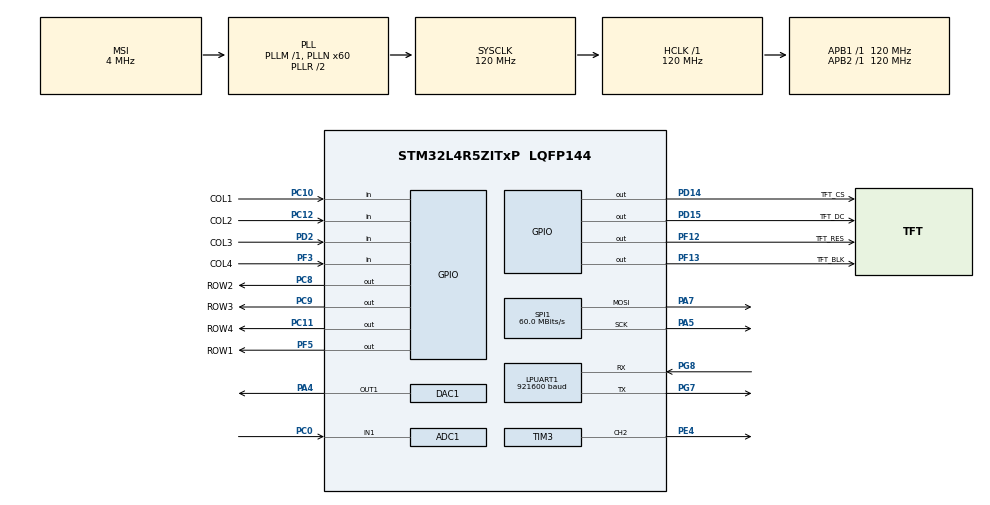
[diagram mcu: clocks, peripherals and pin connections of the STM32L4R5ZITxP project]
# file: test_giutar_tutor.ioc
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ADC1.Channel-0\#ChannelRegularConversion=ADC_CHANNEL_1
ADC1.DMAContinuousRequests=ENABLE
ADC1.ExternalTrigConv=ADC_EXTERNALTRIG_T1_TRGO
ADC1.NbrOfConversionFlag=1
ADC1.OffsetNumber-0\#ChannelRegularConversion=ADC_OFFSET_NONE
ADC1.Rank-0\#ChannelRegularConversion=1
ADC1.SamplingTime-0\#ChannelRegularConversion=ADC_SAMPLETIME_2CYCLES_5
ADC1.master=1
DAC1.DAC_OutputBuffer-DAC_OUT1=DAC_OUTPUTBUFFER_ENABLE
DAC1.DAC_Trigger-DAC_OUT1=DAC_TRIGGER_T6_TRGO
Dma.ADC1.1.Direction=DMA_PERIPH_TO_MEMORY
Dma.ADC1.1.EventEnable=DISABLE
Dma.ADC1.1.Instance=DMA1_Channel3
Dma.ADC1.1.MemDataAlignment=DMA_MDATAALIGN_HALFWORD
Dma.ADC1.1.MemInc=DMA_MINC_ENABLE
Dma.ADC1.1.Mode=DMA_CIRCULAR
Dma.ADC1.1.PeriphDataAlignment=DMA_PDATAALIGN_HALFWORD
Dma.ADC1.1.PeriphInc=DMA_PINC_DISABLE
Dma.ADC1.1.Polarity=HAL_DMAMUX_REQUEST_GEN_RISING
Dma.ADC1.1.Priority=DMA_PRIORITY_HIGH
Dma.ADC1.1.RequestNumber=1
Dma.ADC1.1.SignalID=NONE
Dma.ADC1.1.SyncEnable=DISABLE
Dma.ADC1.1.SyncPolarity=HAL_DMAMUX_SYNC_NO_EVENT
Dma.ADC1.1.SyncRequestNumber=1
Dma.ADC1.1.SyncSignalID=NONE
Dma.DAC1_CH1.0.Direction=DMA_MEMORY_TO_PERIPH
Dma.DAC1_CH1.0.EventEnable=DISABLE
Dma.DAC1_CH1.0.Instance=DMA1_Channel2
Dma.DAC1_CH1.0.MemDataAlignment=DMA_MDATAALIGN_WORD
Dma.DAC1_CH1.0.MemInc=DMA_MINC_ENABLE
Dma.DAC1_CH1.0.Mode=DMA_NORMAL
Dma.DAC1_CH1.0.PeriphDataAlignment=DMA_PDATAALIGN_WORD
Dma.DAC1_CH1.0.PeriphInc=DMA_PINC_DISABLE
Dma.DAC1_CH1.0.Polarity=HAL_DMAMUX_REQUEST_GEN_RISING
Dma.DAC1_CH1.0.Priority=DMA_PRIORITY_LOW
Dma.DAC1_CH1.0.RequestNumber=1
Dma.DAC1_CH1.0.SignalID=NONE
Dma.DAC1_CH1.0.SyncEnable=DISABLE
Dma.DAC1_CH1.0.SyncPolarity=HAL_DMAMUX_SYNC_NO_EVENT
Dma.DAC1_CH1.0.SyncRequestNumber=1
Dma.DAC1_CH1.0.SyncSignalID=NONE
Dma.Request0=DAC1_CH1
Dma.Request1=ADC1
Dma.Request2=TIM3_CH2
Dma.TIM3_CH2.2.Direction=DMA_MEMORY_TO_PERIPH
Dma.TIM3_CH2.2.EventEnable=DISABLE
Dma.TIM3_CH2.2.Instance=DMA1_Channel1
Dma.TIM3_CH2.2.MemDataAlignment=DMA_MDATAALIGN_WORD
Dma.TIM3_CH2.2.MemInc=DMA_MINC_ENABLE
Dma.TIM3_CH2.2.Mode=DMA_NORMAL
Dma.TIM3_CH2.2.PeriphDataAlignment=DMA_PDATAALIGN_WORD
Dma.TIM3_CH2.2.PeriphInc=DMA_PINC_DISABLE
Dma.TIM3_CH2.2.Polarity=HAL_DMAMUX_REQUEST_GEN_RISING
Dma.TIM3_CH2.2.Priority=DMA_PRIORITY_VERY_HIGH
Dma.TIM3_CH2.2.RequestNumber=1
Dma.TIM3_CH2.2.SignalID=NONE
Dma.TIM3_CH2.2.SyncEnable=DISABLE
Dma.TIM3_CH2.2.SyncPolarity=HAL_DMAMUX_SYNC_NO_EVENT
Dma.TIM3_CH2.2.SyncRequestNumber=1
Dma.TIM3_CH2.2.SyncSignalID=NONE
LPUART1.BaudRate=921600
LPUART1.WordLength=UART_WORDLENGTH_8B
Mcu.Family=STM32L4
Mcu.Name=STM32L4R5ZITxP
Mcu.Package=LQFP144
NVIC.DMA1_Channel1_IRQn=true\:0\:0\:false\:false\:true\:false\:true\:true
NVIC.DMA1_Channel2_IRQn=true\:0\:0\:false\:false\:true\:false\:true\:true
NVIC.DMA1_Channel3_IRQn=true\:0\:0\:false\:false\:true\:false\:true\:true
NVIC.PriorityGroup=NVIC_PRIORITYGROUP_4
NVIC.TIM6_DAC_IRQn=true\:0\:0\:false\:false\:true\:true\:true\:true
PA0.Signal=S_TIM2_CH1
PA1.Signal=ADCx_IN6
PA10.Signal=USB_OTG_FS_ID
PA13\ (JTMS/SWDIO).Signal=SYS_JTMS-SWDIO
PA14\ (JTCK/SWCLK).Signal=SYS_JTCK-SWCLK
PA3.Signal=ADCx_IN8
PA4.Signal=COMP_DAC11_group
PA5.Mode=TX_Only_Simplex_Unidirect_Master
PA5.Signal=SPI1_SCK
PA6.Signal=SPI1_MISO
PA7.Mode=TX_Only_Simplex_Unidirect_Master
PA7.Signal=SPI1_MOSI
PA8.Signal=USB_OTG_FS_SOF
PA9.Signal=USB_OTG_FS_VBUS
PB0.Signal=S_TIM3_CH3
PB1.Signal=ADCx_IN16
PB10.Signal=S_TIM2_CH3
PB12.Signal=SAI2_FS_A
PB13.Signal=SAI2_SCK_A
PB14.Signal=S_TIM15_CH1
PB15.Signal=SAI2_SD_A
PB2.Signal=COMP1_INP
PB3\ (JTDO/TRACESWO).Signal=SPI3_SCK
PB4\ (NJTRST).Signal=SPI3_MISO
PB5.Signal=SPI3_MOSI
PB6.Signal=COMP2_INP
PB8.Signal=I2C1_SCL
PB9.Signal=I2C1_SDA
PC0.Signal=ADCx_IN1
PC1.Signal=ADCx_IN2
PC10.GPIO_Label=COL1
PC10.GPIO_PuPd=GPIO_PULLUP
PC10.Signal=GPIO_Input
PC11.GPIO_Label=ROW4
PC11.PinState=GPIO_PIN_SET
PC11.Signal=GPIO_Output
PC12.GPIO_Label=COL2
PC12.GPIO_PuPd=GPIO_PULLUP
PC12.Signal=GPIO_Input
PC13.Signal=SYS_WKUP2
PC14-OSC32_IN\ (PC14).Signal=RCC_OSC32_IN
PC15-OSC32_OUT\ (PC15).Signal=RCC_OSC32_OUT
PC2.Signal=ADCx_IN3
PC3.Signal=ADCx_IN4
PC4.Signal=ADCx_IN13
PC5.Signal=ADCx_IN14
PC6.Signal=SAI2_MCLK_A
PC8.GPIO_Label=ROW2
PC8.PinState=GPIO_PIN_SET
PC8.Signal=GPIO_Output
PC9.GPIO_Label=ROW3
PC9.PinState=GPIO_PIN_SET
PC9.Signal=GPIO_Output
PD0.Signal=CAN1_RX
PD14.GPIO_Label=TFT_CS
PD14.GPIO_Speed=GPIO_SPEED_FREQ_VERY_HIGH
PD14.PinState=GPIO_PIN_SET
PD14.Signal=GPIO_Output
PD15.GPIO_Label=TFT_DC
PD15.GPIO_Speed=GPIO_SPEED_FREQ_VERY_HIGH
PD15.PinState=GPIO_PIN_SET
PD15.Signal=GPIO_Output
PD2.GPIO_Label=COL3
PD2.GPIO_PuPd=GPIO_PULLUP
PD2.Signal=GPIO_Input
PD3.Signal=USART2_CTS
PD4.Signal=USART2_RTS
PD5.Signal=USART2_TX
PD6.Signal=USART2_RX
PD8.Signal=USART3_TX
PD9.Signal=USART3_RX
PE0.Signal=S_TIM4_ETR
PE10.Signal=TIM1_CH2N
PE11.Signal=S_TIM1_CH2
PE12.Signal=TIM1_CH3N
PE13.Signal=S_TIM1_CH3
PE14.Signal=TIM1_BKIN2
PE15.Signal=TIM1_BKIN
PE2.Signal=SAI1_MCLK_A
PE3.Signal=SAI1_SD_B
PE4.Signal=S_TIM3_CH2
PE7.Signal=S_TIM1_ETR
PE8.Signal=TIM1_CH1N
PE9.Signal=S_TIM1_CH1
PF0.Signal=I2C2_SDA
PF1.Signal=I2C2_SCL
PF12.GPIO_Label=TFT_RES
PF12.GPIO_Speed=GPIO_SPEED_FREQ_VERY_HIGH
PF12.PinState=GPIO_PIN_SET
PF12.Signal=GPIO_Output
PF13.GPIO_Label=TFT_BLK
PF13.GPIO_Speed=GPIO_SPEED_FREQ_VERY_HIGH
PF13.PinState=GPIO_PIN_SET
PF13.Signal=GPIO_Output
PF2.Signal=I2C2_SMBA
PF3.GPIO_Label=COL4
PF3.GPIO_PuPd=GPIO_PULLUP
PF3.Signal=GPIO_Input
PF5.GPIO_Label=ROW1
PF5.PinState=GPIO_PIN_SET
PF5.Signal=GPIO_Output
PF7.Signal=SAI1_MCLK_B
PF9.Signal=GPXTI9
PG7.Mode=Asynchronous
PG7.Signal=LPUART1_TX
PG8.Mode=Asynchronous
PG8.Signal=LPUART1_RX
PH0-OSC_IN\ (PH0).Signal=RCC_OSC_IN
PH1-OSC_OUT\ (PH1).Signal=RCC_OSC_OUT
ProjectManager.HeapSize=0x200
ProjectManager.StackSize=0x400
ProjectManager.TargetToolchain=STM32CubeIDE
RCC.ADCFreq_Value=32000000
RCC.AHBFreq_Value=120000000
RCC.APB1Freq_Value=120000000
RCC.APB1TimFreq_Value=120000000
RCC.APB2Freq_Value=120000000
RCC.APB2TimFreq_Value=120000000
RCC.CortexFreq_Value=120000000
RCC.HCLKFreq_Value=120000000
RCC.HSE_VALUE=8000000
RCC.HSI48_VALUE=48000000
RCC.HSI_VALUE=16000000
RCC.LSE_VALUE=32768
RCC.MSI_VALUE=4000000
RCC.PLLN=60
RCC.PLLSAI1N=16
RCC.SYSCLKFreq_VALUE=120000000
RCC.SYSCLKSource=RCC_SYSCLKSOURCE_PLLCLK
RCC.USBFreq_Value=32000000
RCC.VCOOutputFreq_Value=240000000
SH.ADCx_IN1.0=ADC1_IN1,IN1-Single-Ended
SH.ADCx_IN13.0=ADC1_IN13
SH.ADCx_IN14.0=ADC1_IN14
SH.ADCx_IN16.0=ADC1_IN16
SH.ADCx_IN2.0=ADC1_IN2
SH.ADCx_IN3.0=ADC1_IN3
SH.ADCx_IN4.0=ADC1_IN4
SH.ADCx_IN6.0=ADC1_IN6
SH.ADCx_IN8.0=ADC1_IN8
SH.COMP_DAC11_group.0=DAC1_OUT1,DAC_OUT1
SH.S_TIM15_CH1.0=TIM15_CH1
SH.S_TIM1_CH1.0=TIM1_CH1
SH.S_TIM1_CH2.0=TIM1_CH2
SH.S_TIM1_CH3.0=TIM1_CH3
SH.S_TIM1_ETR.0=TIM1_ETR
SH.S_TIM2_CH1.0=TIM2_CH1
SH.S_TIM2_CH3.0=TIM2_CH3
SH.S_TIM3_CH2.0=TIM3_CH2,PWM Generation2 CH2
SH.S_TIM3_CH3.0=TIM3_CH3
SH.S_TIM4_ETR.0=TIM4_ETR
SPI1.BaudRatePrescaler=SPI_BAUDRATEPRESCALER_2
SPI1.CalculateBaudRate=60.0 MBits/s
SPI1.DataSize=SPI_DATASIZE_8BIT
SPI1.Direction=SPI_DIRECTION_2LINES
SPI1.Mode=SPI_MODE_MASTER
SPI1.VirtualType=VM_MASTER
TIM1.Period=499
TIM1.Prescaler=29
TIM1.TIM_MasterOutputTrigger=TIM_TRGO_UPDATE
TIM3.Channel-PWM\ Generation2\ CH2=TIM_CHANNEL_2
TIM3.Period=74
TIM3.Prescaler=1
TIM6.Period=45
TIM6.Prescaler=119
TIM6.TIM_MasterOutputTrigger=TIM_TRGO_UPDATE
VP_TIM1_VS_ClockSourceINT.Mode=Internal
VP_TIM3_VS_ClockSourceINT.Mode=Internal
VP_TIM6_VS_ClockSourceINT.Mode=Enable_Timer
board=NUCLEO-L4R5ZI-P

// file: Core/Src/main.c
/* USER CODE BEGIN Header */
/**
  ******************************************************************************
  * @file           : main.c
  * @brief          : Main program body
  ******************************************************************************
  * @attention
  *
  * Copyright (c) 2026 STMicroelectronics.
  * All rights reserved.
  *
  * This software is licensed under terms that can be found in the LICENSE file
  * in the root directory of this software component.
  * If no LICENSE file comes with this software, it is provided AS-IS.
  *
  ******************************************************************************
  */
/* USER CODE END Header */
#include "main.h"

/* USER CODE BEGIN Includes */
#include "arm_math.h"
#include <string.h>
#include <math.h>
#include <stdint.h>

#include "stdio.h"
#include "keypad.h"
#include "lcd.h"
#include "GUI.h"
#include "ui_fsm.h"
#include "lvgl.h"
#include "lv_port_disp.h"
#include "led_control.h"
#include "chord_recognizer.h"
#include "custom.h"
/* USER CODE END Includes */

/* USER CODE BEGIN PD */
//#define LV_CONF_INCLUDE_SIMPLE "C:\Users\syoshino\STM32CubeIDE\workspace_1.19.0\test_giutar_tutor\Core\LVGL"
#define FS_HZ        8000.0f
#define FFT_LEN      2048
#define FREQ_BINS    (FFT_LEN / 2 + 1)
#define FRAME_MAGIC  0x4750u
/* USER CODE END PD */

ADC_HandleTypeDef hadc1;
DMA_HandleTypeDef hdma_adc1;

DAC_HandleTypeDef hdac1;
DMA_HandleTypeDef hdma_dac1_ch1;

UART_HandleTypeDef hlpuart1;

SPI_HandleTypeDef hspi1;

TIM_HandleTypeDef htim1;
TIM_HandleTypeDef htim3;
TIM_HandleTypeDef htim6;
DMA_HandleTypeDef hdma_tim3_ch2;

/* USER CODE BEGIN PV */
uint16_t adc_buf[FFT_LEN];
volatile uint8_t adc_buf_ready = 0;

float32_t filt_buf[FFT_LEN];
float32_t fft_in[FFT_LEN];
float32_t fft_out[FFT_LEN];
float32_t fft_mag[FREQ_BINS];

arm_rfft_fast_instance_f32 fft_inst;
/* USER CODE END PV */

void SystemClock_Config(void);
static void MX_GPIO_Init(void);
static void MX_DMA_Init(void);
static void MX_LPUART1_UART_Init(void);
static void MX_SPI1_Init(void);
static void MX_DAC1_Init(void);
static void MX_TIM6_Init(void);
static void MX_ADC1_Init(void);
static void MX_TIM1_Init(void);
static void MX_TIM3_Init(void);

/* USER CODE BEGIN 0 */
#pragma pack(push, 1)
typedef struct
{
    uint16_t magic;
    uint32_t frame_id;
    float    fs_hz;
    float    dominant_hz;
    float    adc_mean;
    uint16_t adc_min;
    uint16_t adc_max;
    uint16_t adc_span;
    uint16_t n_time;
    uint16_t n_freq;
} FrameHeader;
#pragma pack(pop)

static uint32_t frame_counter = 0;

void HAL_ADC_ConvCpltCallback(ADC_HandleTypeDef* hadc)
{
    if (hadc->Instance == ADC1)
    {
        adc_buf_ready = 1;
    }
}

void send_frame_binary(float32_t dominant_freq,
                       float32_t adc_mean,
                       uint16_t adc_min,
                       uint16_t adc_max,
                       uint16_t adc_span)
{
    FrameHeader hdr;
    hdr.magic       = FRAME_MAGIC;
    hdr.frame_id    = frame_counter++;
    hdr.fs_hz       = FS_HZ;
    hdr.dominant_hz = dominant_freq;
    hdr.adc_mean    = adc_mean;
    hdr.adc_min     = adc_min;
    hdr.adc_max     = adc_max;
    hdr.adc_span    = adc_span;
    hdr.n_time      = FFT_LEN;
    hdr.n_freq      = FREQ_BINS;

    HAL_UART_Transmit(&hlpuart1, (uint8_t*)&hdr, sizeof(hdr), HAL_MAX_DELAY);
    HAL_UART_Transmit(&hlpuart1, (uint8_t*)adc_buf, sizeof(adc_buf), HAL_MAX_DELAY);
    HAL_UART_Transmit(&hlpuart1, (uint8_t*)fft_mag, sizeof(float32_t) * FREQ_BINS, HAL_MAX_DELAY);
}

/* USER CODE END 0 */

int main(void)
{

  /* MCU Configuration--------------------------------------------------------*/

  /* Reset of all peripherals, Initializes the Flash interface and the Systick. */
  HAL_Init();

  /* Configure the system clock */
  SystemClock_Config();

  /* Initialize all configured peripherals */
  MX_GPIO_Init();
  MX_DMA_Init();
  MX_LPUART1_UART_Init();
  MX_SPI1_Init();
  MX_DAC1_Init();
  MX_TIM6_Init();
  MX_ADC1_Init();
  MX_TIM1_Init();
  MX_TIM3_Init();
  /* USER CODE BEGIN 2 */
  LCD_Init();
  lv_init();
  lv_port_disp_init();
  UI_Init();
  Audio_Manager_Init(&hdac1, &htim6);
  DotStar_InitBuffer();
  DotStar_Update();

  chord_recognizer_audio_init();

  //!! TESTING, TO BE DELETED
  ChordDef *detected = recognize_chord_from_audio();
  if (detected != NULL) {
      show_chord(detected);
  }
  /* USER CODE END 2 */

  /* Infinite loop */
  /* USER CODE BEGIN WHILE */
  while (1)
  {
	  UI_Process();
	  //HAL_Delay(500);
	  lv_timer_handler();
	  HAL_Delay(5);
    /* USER CODE END WHILE */

  }
}

void SystemClock_Config(void)
{
  RCC_OscInitTypeDef RCC_OscInitStruct = {0};
  RCC_ClkInitTypeDef RCC_ClkInitStruct = {0};

  /** Configure the main internal regulator output voltage
  */
  if (HAL_PWREx_ControlVoltageScaling(PWR_REGULATOR_VOLTAGE_SCALE1_BOOST) != HAL_OK)
  {
    Error_Handler();
  }

  /** Initializes the RCC Oscillators according to the specified parameters
  * in the RCC_OscInitTypeDef structure.
  */
  RCC_OscInitStruct.OscillatorType = RCC_OSCILLATORTYPE_MSI;
  RCC_OscInitStruct.MSIState = RCC_MSI_ON;
  RCC_OscInitStruct.MSICalibrationValue = 0;
  RCC_OscInitStruct.MSIClockRange = RCC_MSIRANGE_6;
  RCC_OscInitStruct.PLL.PLLState = RCC_PLL_ON;
  RCC_OscInitStruct.PLL.PLLSource = RCC_PLLSOURCE_MSI;
  RCC_OscInitStruct.PLL.PLLM = 1;
  RCC_OscInitStruct.PLL.PLLN = 60;
  RCC_OscInitStruct.PLL.PLLP = RCC_PLLP_DIV2;
  RCC_OscInitStruct.PLL.PLLQ = RCC_PLLQ_DIV2;
  RCC_OscInitStruct.PLL.PLLR = RCC_PLLR_DIV2;
  if (HAL_RCC_OscConfig(&RCC_OscInitStruct) != HAL_OK)
  {
    Error_Handler();
  }

  /** Initializes the CPU, AHB and APB buses clocks
  */
  RCC_ClkInitStruct.ClockType = RCC_CLOCKTYPE_HCLK|RCC_CLOCKTYPE_SYSCLK
                              |RCC_CLOCKTYPE_PCLK1|RCC_CLOCKTYPE_PCLK2;
  RCC_ClkInitStruct.SYSCLKSource = RCC_SYSCLKSOURCE_PLLCLK;
  RCC_ClkInitStruct.AHBCLKDivider = RCC_SYSCLK_DIV1;
  RCC_ClkInitStruct.APB1CLKDivider = RCC_HCLK_DIV1;
  RCC_ClkInitStruct.APB2CLKDivider = RCC_HCLK_DIV1;

  if (HAL_RCC_ClockConfig(&RCC_ClkInitStruct, FLASH_LATENCY_5) != HAL_OK)
  {
    Error_Handler();
  }
}

static void MX_ADC1_Init(void)
{

  ADC_ChannelConfTypeDef sConfig = {0};

  /** Common config
  */
  hadc1.Instance = ADC1;
  hadc1.Init.ClockPrescaler = ADC_CLOCK_ASYNC_DIV1;
  hadc1.Init.Resolution = ADC_RESOLUTION_12B;
  hadc1.Init.DataAlign = ADC_DATAALIGN_RIGHT;
  hadc1.Init.ScanConvMode = ADC_SCAN_DISABLE;
  hadc1.Init.EOCSelection = ADC_EOC_SINGLE_CONV;
  hadc1.Init.LowPowerAutoWait = DISABLE;
  hadc1.Init.ContinuousConvMode = DISABLE;
  hadc1.Init.NbrOfConversion = 1;
  hadc1.Init.DiscontinuousConvMode = DISABLE;
  hadc1.Init.ExternalTrigConv = ADC_EXTERNALTRIG_T1_TRGO;
  hadc1.Init.ExternalTrigConvEdge = ADC_EXTERNALTRIGCONVEDGE_RISING;
  hadc1.Init.DMAContinuousRequests = ENABLE;
  hadc1.Init.Overrun = ADC_OVR_DATA_PRESERVED;
  hadc1.Init.OversamplingMode = DISABLE;
  if (HAL_ADC_Init(&hadc1) != HAL_OK)
  {
    Error_Handler();
  }

  /** Configure Regular Channel
  */
  sConfig.Channel = ADC_CHANNEL_1;
  sConfig.Rank = ADC_REGULAR_RANK_1;
  sConfig.SamplingTime = ADC_SAMPLETIME_2CYCLES_5;
  sConfig.SingleDiff = ADC_SINGLE_ENDED;
  sConfig.OffsetNumber = ADC_OFFSET_NONE;
  sConfig.Offset = 0;
  if (HAL_ADC_ConfigChannel(&hadc1, &sConfig) != HAL_OK)
  {
    Error_Handler();
  }

}

static void MX_DAC1_Init(void)
{

  DAC_ChannelConfTypeDef sConfig = {0};

  /** DAC Initialization
  */
  hdac1.Instance = DAC1;
  if (HAL_DAC_Init(&hdac1) != HAL_OK)
  {
    Error_Handler();
  }

  /** DAC channel OUT1 config
  */
  sConfig.DAC_SampleAndHold = DAC_SAMPLEANDHOLD_DISABLE;
  sConfig.DAC_Trigger = DAC_TRIGGER_T6_TRGO;
  sConfig.DAC_HighFrequency = DAC_HIGH_FREQUENCY_INTERFACE_MODE_ABOVE_80MHZ;
  sConfig.DAC_OutputBuffer = DAC_OUTPUTBUFFER_ENABLE;
  sConfig.DAC_ConnectOnChipPeripheral = DAC_CHIPCONNECT_DISABLE;
  sConfig.DAC_UserTrimming = DAC_TRIMMING_FACTORY;
  if (HAL_DAC_ConfigChannel(&hdac1, &sConfig, DAC_CHANNEL_1) != HAL_OK)
  {
    Error_Handler();
  }

}

static void MX_LPUART1_UART_Init(void)
{

  hlpuart1.Instance = LPUART1;
  hlpuart1.Init.BaudRate = 921600;
  hlpuart1.Init.WordLength = UART_WORDLENGTH_8B;
  hlpuart1.Init.StopBits = UART_STOPBITS_1;
  hlpuart1.Init.Parity = UART_PARITY_NONE;
  hlpuart1.Init.Mode = UART_MODE_TX_RX;
  hlpuart1.Init.HwFlowCtl = UART_HWCONTROL_NONE;
  hlpuart1.Init.OneBitSampling = UART_ONE_BIT_SAMPLE_DISABLE;
  hlpuart1.Init.ClockPrescaler = UART_PRESCALER_DIV1;
  hlpuart1.AdvancedInit.AdvFeatureInit = UART_ADVFEATURE_NO_INIT;
  hlpuart1.FifoMode = UART_FIFOMODE_DISABLE;
  if (HAL_UART_Init(&hlpuart1) != HAL_OK)
  {
    Error_Handler();
  }
  if (HAL_UARTEx_SetTxFifoThreshold(&hlpuart1, UART_TXFIFO_THRESHOLD_1_8) != HAL_OK)
  {
    Error_Handler();
  }
  if (HAL_UARTEx_SetRxFifoThreshold(&hlpuart1, UART_RXFIFO_THRESHOLD_1_8) != HAL_OK)
  {
    Error_Handler();
  }
  if (HAL_UARTEx_DisableFifoMode(&hlpuart1) != HAL_OK)
  {
    Error_Handler();
  }

}

static void MX_SPI1_Init(void)
{

  /* SPI1 parameter configuration*/
  hspi1.Instance = SPI1;
  hspi1.Init.Mode = SPI_MODE_MASTER;
  hspi1.Init.Direction = SPI_DIRECTION_2LINES;
  hspi1.Init.DataSize = SPI_DATASIZE_8BIT;
  hspi1.Init.CLKPolarity = SPI_POLARITY_LOW;
  hspi1.Init.CLKPhase = SPI_PHASE_1EDGE;
  hspi1.Init.NSS = SPI_NSS_SOFT;
  hspi1.Init.BaudRatePrescaler = SPI_BAUDRATEPRESCALER_2;
  hspi1.Init.FirstBit = SPI_FIRSTBIT_MSB;
  hspi1.Init.TIMode = SPI_TIMODE_DISABLE;
  hspi1.Init.CRCCalculation = SPI_CRCCALCULATION_DISABLE;
  hspi1.Init.CRCPolynomial = 7;
  hspi1.Init.CRCLength = SPI_CRC_LENGTH_DATASIZE;
  hspi1.Init.NSSPMode = SPI_NSS_PULSE_ENABLE;
  if (HAL_SPI_Init(&hspi1) != HAL_OK)
  {
    Error_Handler();
  }

}

static void MX_TIM1_Init(void)
{

  TIM_ClockConfigTypeDef sClockSourceConfig = {0};
  TIM_MasterConfigTypeDef sMasterConfig = {0};

  htim1.Instance = TIM1;
  htim1.Init.Prescaler = 29;
  htim1.Init.CounterMode = TIM_COUNTERMODE_UP;
  htim1.Init.Period = 499;
  htim1.Init.ClockDivision = TIM_CLOCKDIVISION_DIV1;
  htim1.Init.RepetitionCounter = 0;
  htim1.Init.AutoReloadPreload = TIM_AUTORELOAD_PRELOAD_DISABLE;
  if (HAL_TIM_Base_Init(&htim1) != HAL_OK)
  {
    Error_Handler();
  }
  sClockSourceConfig.ClockSource = TIM_CLOCKSOURCE_INTERNAL;
  if (HAL_TIM_ConfigClockSource(&htim1, &sClockSourceConfig) != HAL_OK)
  {
    Error_Handler();
  }
  sMasterConfig.MasterOutputTrigger = TIM_TRGO_UPDATE;
  sMasterConfig.MasterOutputTrigger2 = TIM_TRGO2_RESET;
  sMasterConfig.MasterSlaveMode = TIM_MASTERSLAVEMODE_DISABLE;
  if (HAL_TIMEx_MasterConfigSynchronization(&htim1, &sMasterConfig) != HAL_OK)
  {
    Error_Handler();
  }

}

static void MX_TIM3_Init(void)
{

  TIM_ClockConfigTypeDef sClockSourceConfig = {0};
  TIM_MasterConfigTypeDef sMasterConfig = {0};
  TIM_OC_InitTypeDef sConfigOC = {0};

  htim3.Instance = TIM3;
  htim3.Init.Prescaler = 1;
  htim3.Init.CounterMode = TIM_COUNTERMODE_UP;
  htim3.Init.Period = 74;
  htim3.Init.ClockDivision = TIM_CLOCKDIVISION_DIV1;
  htim3.Init.AutoReloadPreload = TIM_AUTORELOAD_PRELOAD_DISABLE;
  if (HAL_TIM_Base_Init(&htim3) != HAL_OK)
  {
    Error_Handler();
  }
  sClockSourceConfig.ClockSource = TIM_CLOCKSOURCE_INTERNAL;
  if (HAL_TIM_ConfigClockSource(&htim3, &sClockSourceConfig) != HAL_OK)
  {
    Error_Handler();
  }
  if (HAL_TIM_PWM_Init(&htim3) != HAL_OK)
  {
    Error_Handler();
  }
  sMasterConfig.MasterOutputTrigger = TIM_TRGO_RESET;
  sMasterConfig.MasterSlaveMode = TIM_MASTERSLAVEMODE_DISABLE;
  if (HAL_TIMEx_MasterConfigSynchronization(&htim3, &sMasterConfig) != HAL_OK)
  {
    Error_Handler();
  }
  sConfigOC.OCMode = TIM_OCMODE_PWM1;
  sConfigOC.Pulse = 0;
  sConfigOC.OCPolarity = TIM_OCPOLARITY_HIGH;
  sConfigOC.OCFastMode = TIM_OCFAST_DISABLE;
  if (HAL_TIM_PWM_ConfigChannel(&htim3, &sConfigOC, TIM_CHANNEL_2) != HAL_OK)
  {
    Error_Handler();
  }
  HAL_TIM_MspPostInit(&htim3);

}

static void MX_TIM6_Init(void)
{

  TIM_MasterConfigTypeDef sMasterConfig = {0};

  htim6.Instance = TIM6;
  htim6.Init.Prescaler = 119;
  htim6.Init.CounterMode = TIM_COUNTERMODE_UP;
  htim6.Init.Period = 45;
  htim6.Init.AutoReloadPreload = TIM_AUTORELOAD_PRELOAD_DISABLE;
  if (HAL_TIM_Base_Init(&htim6) != HAL_OK)
  {
    Error_Handler();
  }
  sMasterConfig.MasterOutputTrigger = TIM_TRGO_UPDATE;
  sMasterConfig.MasterSlaveMode = TIM_MASTERSLAVEMODE_DISABLE;
  if (HAL_TIMEx_MasterConfigSynchronization(&htim6, &sMasterConfig) != HAL_OK)
  {
    Error_Handler();
  }

}

static void MX_DMA_Init(void)
{

  /* DMA controller clock enable */
  __HAL_RCC_DMAMUX1_CLK_ENABLE();
  __HAL_RCC_DMA1_CLK_ENABLE();

  /* DMA interrupt init */
  /* DMA1_Channel1_IRQn interrupt configuration */
  HAL_NVIC_SetPriority(DMA1_Channel1_IRQn, 0, 0);
  HAL_NVIC_EnableIRQ(DMA1_Channel1_IRQn);
  /* DMA1_Channel2_IRQn interrupt configuration */
  HAL_NVIC_SetPriority(DMA1_Channel2_IRQn, 0, 0);
  HAL_NVIC_EnableIRQ(DMA1_Channel2_IRQn);
  /* DMA1_Channel3_IRQn interrupt configuration */
  HAL_NVIC_SetPriority(DMA1_Channel3_IRQn, 0, 0);
  HAL_NVIC_EnableIRQ(DMA1_Channel3_IRQn);

}

static void MX_GPIO_Init(void)
{
  GPIO_InitTypeDef GPIO_InitStruct = {0};

  /* GPIO Ports Clock Enable */
  __HAL_RCC_GPIOE_CLK_ENABLE();
  __HAL_RCC_GPIOC_CLK_ENABLE();
  __HAL_RCC_GPIOF_CLK_ENABLE();
  __HAL_RCC_GPIOH_CLK_ENABLE();
  __HAL_RCC_GPIOA_CLK_ENABLE();
  __HAL_RCC_GPIOB_CLK_ENABLE();
  __HAL_RCC_GPIOD_CLK_ENABLE();
  __HAL_RCC_GPIOG_CLK_ENABLE();
  HAL_PWREx_EnableVddIO2();

  /*Configure GPIO pin Output Level */
  HAL_GPIO_WritePin(GPIOF, ROW1_Pin|TFT_RES_Pin|TFT_BLK_Pin, GPIO_PIN_SET);

  /*Configure GPIO pin Output Level */
  HAL_GPIO_WritePin(GPIOD, TFT_CS_Pin|TFT_DC_Pin, GPIO_PIN_SET);

  /*Configure GPIO pin Output Level */
  HAL_GPIO_WritePin(GPIOC, ROW2_Pin|ROW3_Pin|ROW4_Pin, GPIO_PIN_SET);

  /*Configure GPIO pins : PE2 PE3 */
  GPIO_InitStruct.Pin = GPIO_PIN_2|GPIO_PIN_3;
  GPIO_InitStruct.Mode = GPIO_MODE_AF_PP;
  GPIO_InitStruct.Pull = GPIO_NOPULL;
  GPIO_InitStruct.Speed = GPIO_SPEED_FREQ_LOW;
  GPIO_InitStruct.Alternate = GPIO_AF13_SAI1;
  HAL_GPIO_Init(GPIOE, &GPIO_InitStruct);

  /*Configure GPIO pins : PF0 PF1 PF2 */
  GPIO_InitStruct.Pin = GPIO_PIN_0|GPIO_PIN_1|GPIO_PIN_2;
  GPIO_InitStruct.Mode = GPIO_MODE_AF_OD;
  GPIO_InitStruct.Pull = GPIO_NOPULL;
  GPIO_InitStruct.Speed = GPIO_SPEED_FREQ_VERY_HIGH;
  GPIO_InitStruct.Alternate = GPIO_AF4_I2C2;
  HAL_GPIO_Init(GPIOF, &GPIO_InitStruct);

  /*Configure GPIO pin : COL4_Pin */
  GPIO_InitStruct.Pin = COL4_Pin;
  GPIO_InitStruct.Mode = GPIO_MODE_INPUT;
  GPIO_InitStruct.Pull = GPIO_PULLUP;
  HAL_GPIO_Init(COL4_GPIO_Port, &GPIO_InitStruct);

  /*Configure GPIO pin : ROW1_Pin */
  GPIO_InitStruct.Pin = ROW1_Pin;
  GPIO_InitStruct.Mode = GPIO_MODE_OUTPUT_PP;
  GPIO_InitStruct.Pull = GPIO_NOPULL;
  GPIO_InitStruct.Speed = GPIO_SPEED_FREQ_LOW;
  HAL_GPIO_Init(ROW1_GPIO_Port, &GPIO_InitStruct);

  /*Configure GPIO pin : PF7 */
  GPIO_InitStruct.Pin = GPIO_PIN_7;
  GPIO_InitStruct.Mode = GPIO_MODE_AF_PP;
  GPIO_InitStruct.Pull = GPIO_NOPULL;
  GPIO_InitStruct.Speed = GPIO_SPEED_FREQ_LOW;
  GPIO_InitStruct.Alternate = GPIO_AF13_SAI1;
  HAL_GPIO_Init(GPIOF, &GPIO_InitStruct);

  /*Configure GPIO pin : PF9 */
  GPIO_InitStruct.Pin = GPIO_PIN_9;
  GPIO_InitStruct.Mode = GPIO_MODE_IT_RISING;
  GPIO_InitStruct.Pull = GPIO_NOPULL;
  HAL_GPIO_Init(GPIOF, &GPIO_InitStruct);

  /*Configure GPIO pin : PA0 */
  GPIO_InitStruct.Pin = GPIO_PIN_0;
  GPIO_InitStruct.Mode = GPIO_MODE_AF_PP;
  GPIO_InitStruct.Pull = GPIO_NOPULL;
  GPIO_InitStruct.Speed = GPIO_SPEED_FREQ_LOW;
  GPIO_InitStruct.Alternate = GPIO_AF1_TIM2;
  HAL_GPIO_Init(GPIOA, &GPIO_InitStruct);

  /*Configure GPIO pins : PB2 PB6 */
  GPIO_InitStruct.Pin = GPIO_PIN_2|GPIO_PIN_6;
  GPIO_InitStruct.Mode = GPIO_MODE_ANALOG;
  GPIO_InitStruct.Pull = GPIO_NOPULL;
  HAL_GPIO_Init(GPIOB, &GPIO_InitStruct);

  /*Configure GPIO pins : TFT_RES_Pin TFT_BLK_Pin */
  GPIO_InitStruct.Pin = TFT_RES_Pin|TFT_BLK_Pin;
  GPIO_InitStruct.Mode = GPIO_MODE_OUTPUT_PP;
  GPIO_InitStruct.Pull = GPIO_NOPULL;
  GPIO_InitStruct.Speed = GPIO_SPEED_FREQ_VERY_HIGH;
  HAL_GPIO_Init(GPIOF, &GPIO_InitStruct);

  /*Configure GPIO pin : PB10 */
  GPIO_InitStruct.Pin = GPIO_PIN_10;
  GPIO_InitStruct.Mode = GPIO_MODE_AF_PP;
  GPIO_InitStruct.Pull = GPIO_NOPULL;
  GPIO_InitStruct.Speed = GPIO_SPEED_FREQ_LOW;
  GPIO_InitStruct.Alternate = GPIO_AF1_TIM2;
  HAL_GPIO_Init(GPIOB, &GPIO_InitStruct);

  /*Configure GPIO pins : PB12 PB13 PB15 */
  GPIO_InitStruct.Pin = GPIO_PIN_12|GPIO_PIN_13|GPIO_PIN_15;
  GPIO_InitStruct.Mode = GPIO_MODE_AF_PP;
  GPIO_InitStruct.Pull = GPIO_NOPULL;
  GPIO_InitStruct.Speed = GPIO_SPEED_FREQ_LOW;
  GPIO_InitStruct.Alternate = GPIO_AF13_SAI2;
  HAL_GPIO_Init(GPIOB, &GPIO_InitStruct);

  /*Configure GPIO pin : PB14 */
  GPIO_InitStruct.Pin = GPIO_PIN_14;
  GPIO_InitStruct.Mode = GPIO_MODE_AF_PP;
  GPIO_InitStruct.Pull = GPIO_NOPULL;
  GPIO_InitStruct.Speed = GPIO_SPEED_FREQ_LOW;
  GPIO_InitStruct.Alternate = GPIO_AF14_TIM15;
  HAL_GPIO_Init(GPIOB, &GPIO_InitStruct);

  /*Configure GPIO pins : PD8 PD9 */
  GPIO_InitStruct.Pin = GPIO_PIN_8|GPIO_PIN_9;
  GPIO_InitStruct.Mode = GPIO_MODE_AF_PP;
  GPIO_InitStruct.Pull = GPIO_NOPULL;
  GPIO_InitStruct.Speed = GPIO_SPEED_FREQ_VERY_HIGH;
  GPIO_InitStruct.Alternate = GPIO_AF7_USART3;
  HAL_GPIO_Init(GPIOD, &GPIO_InitStruct);

  /*Configure GPIO pins : TFT_CS_Pin TFT_DC_Pin */
  GPIO_InitStruct.Pin = TFT_CS_Pin|TFT_DC_Pin;
  GPIO_InitStruct.Mode = GPIO_MODE_OUTPUT_PP;
  GPIO_InitStruct.Pull = GPIO_NOPULL;
  GPIO_InitStruct.Speed = GPIO_SPEED_FREQ_VERY_HIGH;
  HAL_GPIO_Init(GPIOD, &GPIO_InitStruct);

  /*Configure GPIO pin : PC6 */
  GPIO_InitStruct.Pin = GPIO_PIN_6;
  GPIO_InitStruct.Mode = GPIO_MODE_AF_PP;
  GPIO_InitStruct.Pull = GPIO_NOPULL;
  GPIO_InitStruct.Speed = GPIO_SPEED_FREQ_LOW;
  GPIO_InitStruct.Alternate = GPIO_AF13_SAI2;
  HAL_GPIO_Init(GPIOC, &GPIO_InitStruct);

  /*Configure GPIO pins : ROW2_Pin ROW3_Pin ROW4_Pin */
  GPIO_InitStruct.Pin = ROW2_Pin|ROW3_Pin|ROW4_Pin;
  GPIO_InitStruct.Mode = GPIO_MODE_OUTPUT_PP;
  GPIO_InitStruct.Pull = GPIO_NOPULL;
  GPIO_InitStruct.Speed = GPIO_SPEED_FREQ_LOW;
  HAL_GPIO_Init(GPIOC, &GPIO_InitStruct);

  /*Configure GPIO pins : PA8 PA10 */
  GPIO_InitStruct.Pin = GPIO_PIN_8|GPIO_PIN_10;
  GPIO_InitStruct.Mode = GPIO_MODE_AF_PP;
  GPIO_InitStruct.Pull = GPIO_NOPULL;
  GPIO_InitStruct.Speed = GPIO_SPEED_FREQ_VERY_HIGH;
  GPIO_InitStruct.Alternate = GPIO_AF10_OTG_FS;
  HAL_GPIO_Init(GPIOA, &GPIO_InitStruct);

  /*Configure GPIO pin : PA9 */
  GPIO_InitStruct.Pin = GPIO_PIN_9;
  GPIO_InitStruct.Mode = GPIO_MODE_INPUT;
  GPIO_InitStruct.Pull = GPIO_NOPULL;
  HAL_GPIO_Init(GPIOA, &GPIO_InitStruct);

  /*Configure GPIO pins : COL1_Pin COL2_Pin */
  GPIO_InitStruct.Pin = COL1_Pin|COL2_Pin;
  GPIO_InitStruct.Mode = GPIO_MODE_INPUT;
  GPIO_InitStruct.Pull = GPIO_PULLUP;
  HAL_GPIO_Init(GPIOC, &GPIO_InitStruct);

  /*Configure GPIO pin : PD0 */
  GPIO_InitStruct.Pin = GPIO_PIN_0;
  GPIO_InitStruct.Mode = GPIO_MODE_AF_PP;
  GPIO_InitStruct.Pull = GPIO_NOPULL;
  GPIO_InitStruct.Speed = GPIO_SPEED_FREQ_VERY_HIGH;
  GPIO_InitStruct.Alternate = GPIO_AF9_CAN1;
  HAL_GPIO_Init(GPIOD, &GPIO_InitStruct);

  /*Configure GPIO pin : COL3_Pin */
  GPIO_InitStruct.Pin = COL3_Pin;
  GPIO_InitStruct.Mode = GPIO_MODE_INPUT;
  GPIO_InitStruct.Pull = GPIO_PULLUP;
  HAL_GPIO_Init(COL3_GPIO_Port, &GPIO_InitStruct);

  /*Configure GPIO pins : PD3 PD4 PD5 PD6 */
  GPIO_InitStruct.Pin = GPIO_PIN_3|GPIO_PIN_4|GPIO_PIN_5|GPIO_PIN_6;
  GPIO_InitStruct.Mode = GPIO_MODE_AF_PP;
  GPIO_InitStruct.Pull = GPIO_NOPULL;
  GPIO_InitStruct.Speed = GPIO_SPEED_FREQ_VERY_HIGH;
  GPIO_InitStruct.Alternate = GPIO_AF7_USART2;
  HAL_GPIO_Init(GPIOD, &GPIO_InitStruct);

  /*Configure GPIO pins : PB3 PB4 PB5 */
  GPIO_InitStruct.Pin = GPIO_PIN_3|GPIO_PIN_4|GPIO_PIN_5;
  GPIO_InitStruct.Mode = GPIO_MODE_AF_PP;
  GPIO_InitStruct.Pull = GPIO_NOPULL;
  GPIO_InitStruct.Speed = GPIO_SPEED_FREQ_VERY_HIGH;
  GPIO_InitStruct.Alternate = GPIO_AF6_SPI3;
  HAL_GPIO_Init(GPIOB, &GPIO_InitStruct);

  /*Configure GPIO pins : PB8 PB9 */
  GPIO_InitStruct.Pin = GPIO_PIN_8|GPIO_PIN_9;
  GPIO_InitStruct.Mode = GPIO_MODE_AF_OD;
  GPIO_InitStruct.Pull = GPIO_NOPULL;
  GPIO_InitStruct.Speed = GPIO_SPEED_FREQ_VERY_HIGH;
  GPIO_InitStruct.Alternate = GPIO_AF4_I2C1;
  HAL_GPIO_Init(GPIOB, &GPIO_InitStruct);

  /*Configure GPIO pin : PE0 */
  GPIO_InitStruct.Pin = GPIO_PIN_0;
  GPIO_InitStruct.Mode = GPIO_MODE_AF_PP;
  GPIO_InitStruct.Pull = GPIO_NOPULL;
  GPIO_InitStruct.Speed = GPIO_SPEED_FREQ_LOW;
  GPIO_InitStruct.Alternate = GPIO_AF2_TIM4;
  HAL_GPIO_Init(GPIOE, &GPIO_InitStruct);

}

/* USER CODE BEGIN 4 */
#ifdef __GNUC__
#define PUTCHAR_PROTOTYPE int __io_putchar(int ch)
#else
  #define PUTCHAR_PROTOTYPE int fputc(int ch, FILE *f)
#endif /* __GNUC__ */
PUTCHAR_PROTOTYPE
{
  HAL_UART_Transmit(&hlpuart1, (uint8_t *)&ch, 1, 0xFFFF);
  return ch;
}

/* USER CODE END 4 */

void Error_Handler(void)
{
  __disable_irq();
  while (1)
  {
  }
}
